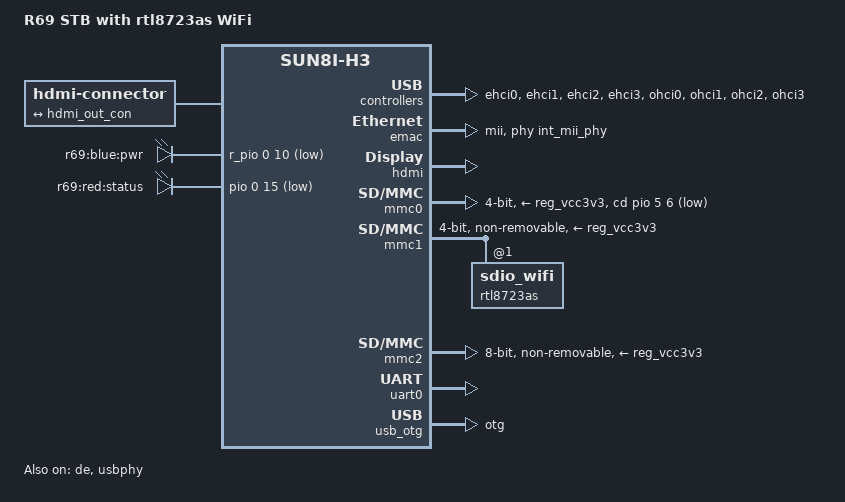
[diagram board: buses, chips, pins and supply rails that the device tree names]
/*
 * Copyright (C) 2016 Hans de Goede <hdegoede@redhat.com>
 * Copyright (C) 2023 Ulrich Hecht <uli@basicengine.org>
 *
 * This file is dual-licensed: you can use it either under the terms
 * of the GPL or the X11 license, at your option. Note that this dual
 * licensing only applies to this file, and not this project as a
 * whole.
 *
 *  a) This file is free software; you can redistribute it and/or
 *     modify it under the terms of the GNU General Public License as
 *     published by the Free Software Foundation; either version 2 of the
 *     License, or (at your option) any later version.
 *
 *     This file is distributed in the hope that it will be useful,
 *     but WITHOUT ANY WARRANTY; without even the implied warranty of
 *     MERCHANTABILITY or FITNESS FOR A PARTICULAR PURPOSE.  See the
 *     GNU General Public License for more details.
 *
 * Or, alternatively,
 *
 *  b) Permission is hereby granted, free of charge, to any person
 *     obtaining a copy of this software and associated documentation
 *     files (the "Software"), to deal in the Software without
 *     restriction, including without limitation the rights to use,
 *     copy, modify, merge, publish, distribute, sublicense, and/or
 *     sell copies of the Software, and to permit persons to whom the
 *     Software is furnished to do so, subject to the following
 *     conditions:
 *
 *     The above copyright notice and this permission notice shall be
 *     included in all copies or substantial portions of the Software.
 *
 *     THE SOFTWARE IS PROVIDED "AS IS", WITHOUT WARRANTY OF ANY KIND,
 *     EXPRESS OR IMPLIED, INCLUDING BUT NOT LIMITED TO THE WARRANTIES
 *     OF MERCHANTABILITY, FITNESS FOR A PARTICULAR PURPOSE AND
 *     NONINFRINGEMENT. IN NO EVENT SHALL THE AUTHORS OR COPYRIGHT
 *     HOLDERS BE LIABLE FOR ANY CLAIM, DAMAGES OR OTHER LIABILITY,
 *     WHETHER IN AN ACTION OF CONTRACT, TORT OR OTHERWISE, ARISING
 *     FROM, OUT OF OR IN CONNECTION WITH THE SOFTWARE OR THE USE OR
 *     OTHER DEALINGS IN THE SOFTWARE.
 */

/dts-v1/;
#include "sun8i-h3.dtsi"
#include "sunxi-common-regulators.dtsi"

#include <dt-bindings/gpio/gpio.h>
#include <dt-bindings/input/input.h>

/*
 * This device tree is a semi-educated guess cobbled together from various
 * Orange Pi DTS files.
 */

/ {
	model = "R69 STB with rtl8723as WiFi";
	compatible = "unknown,r69", "allwinner,sun8i-h3";

	aliases {
		ethernet0 = &emac;
		ethernet1 = &rtl8723as;
		serial0 = &uart0;
	};

	chosen {
		stdout-path = "serial0:115200n8";
	};

	connector {
		compatible = "hdmi-connector";
		type = "a";

		port {
			hdmi_con_in: endpoint {
				remote-endpoint = <&hdmi_out_con>;
			};
		};
	};

	leds {
		compatible = "gpio-leds";

		pwr_led {
			label = "r69:blue:pwr";
			gpios = <&r_pio 0 10 GPIO_ACTIVE_LOW>;
			default-state = "on";
		};

		status_led {
			label = "r69:red:status";
			gpios = <&pio 0 15 GPIO_ACTIVE_LOW>;
		};
	};
};

&de {
	status = "okay";
};

&ehci0 {
	status = "okay";
};

&ehci1 {
	status = "okay";
};

&ehci2 {
	status = "okay";
};

&ehci3 {
	status = "okay";
};

&emac {
	phy-handle = <&int_mii_phy>;
	phy-mode = "mii";
	allwinner,leds-active-low;
	status = "okay";
};

&hdmi {
	status = "okay";
};

&hdmi_out {
	hdmi_out_con: endpoint {
		remote-endpoint = <&hdmi_con_in>;
	};
};

&mmc0 {
	vmmc-supply = <&reg_vcc3v3>;
	bus-width = <4>;
	cd-gpios = <&pio 5 6 GPIO_ACTIVE_LOW>; /* PF6 */
	status = "okay";
};

&mmc1 {
	vmmc-supply = <&reg_vcc3v3>;
	bus-width = <4>;
	non-removable;
	status = "okay";

	/*
	 * Explicitly define the sdio device, so that we can add an ethernet
	 * alias for it (which e.g. makes u-boot set a mac-address).
	 */
	rtl8723as: sdio_wifi@1 {
		reg = <1>;
	};
};

&mmc2 {
        pinctrl-names = "default";
        pinctrl-0 = <&mmc2_8bit_pins>;
        vmmc-supply = <&reg_vcc3v3>;
        bus-width = <8>;
        non-removable;
        cap-mmc-hw-reset;
        status = "okay";
};

&mmc2_8bit_pins {
        /* Increase drive strength for DDR modes */
        drive-strength = <40>;
        /* eMMC is missing pull-ups */
        bias-pull-up;
};

&ohci0 {
	status = "okay";
};

&ohci1 {
	status = "okay";
};

&ohci2 {
	status = "okay";
};

&ohci3 {
	status = "okay";
};

&uart0 {
	pinctrl-names = "default";
	pinctrl-0 = <&uart0_pa_pins>;
	status = "okay";
};

&uart1 {
	pinctrl-names = "default";
	pinctrl-0 = <&uart1_pins>;
	status = "disabled";
};

&uart2 {
	pinctrl-names = "default";
	pinctrl-0 = <&uart2_pins>;
	status = "disabled";
};

&uart3 {
	pinctrl-names = "default";
	pinctrl-0 = <&uart3_pins>;
	status = "disabled";
};

&usb_otg {
	dr_mode = "otg";
	status = "okay";
};


&usbphy {
	status = "okay";
};
